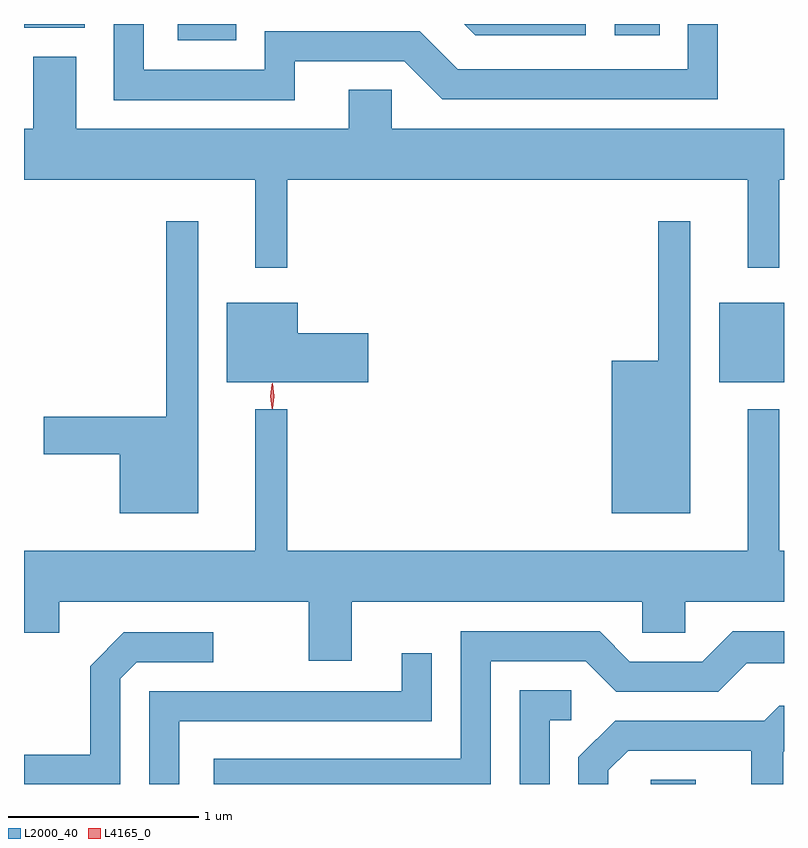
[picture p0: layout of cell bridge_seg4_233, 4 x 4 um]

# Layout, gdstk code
import gdstk
lib = gdstk.Library(unit=1e-6, precision=1e-09)
def R(c, l, rs):  # rectangles x0, y0, x1, y1
    for r in rs: c.add(gdstk.rectangle(r[:2], r[2:], *l))
def P(c, l, *ps):  # polygons
    for p in ps: c.add(gdstk.Polygon(p, *l))
L2000_40 = (2000, 40)
L4165_0 = (4165, 0)

bridge_seg4_233 = lib.new_cell('bridge_seg4_233')
R(bridge_seg4_233, L2000_40, [(593.641,1380.356,593.879,1380.379), (594.001,1382.471,594.343,1382.889), (591.151,1384.271,591.459,1384.356), (593.451,1384.296,593.688,1384.356), (590.343,1384.336,590.664,1384.356)])
P(bridge_seg4_233, L2000_40, [(593.299,1384.356),(592.659,1384.356),(592.719,1384.296),(593.299,1384.296)],
  [(591.769,1384.161),(592.344,1384.161),(592.544,1383.961),(593.994,1383.961),(593.994,1384.356),(593.836,1384.356),(593.836,1384.119),(592.627,1384.119),(592.427,1384.319),(591.611,1384.319),(591.611,1384.114),(590.974,1384.114),(590.974,1384.356),(590.816,1384.356),(590.816,1383.956),(591.769,1383.956)],
  [(591.729,1383.536),(594.151,1383.536),(594.151,1383.073),(594.319,1383.073),(594.319,1383.536),(594.343,1383.536),(594.343,1383.804),(592.279,1383.804),(592.279,1384.009),(592.051,1384.009),(592.051,1383.804),(590.619,1383.804),(590.619,1384.184),(590.391,1384.184),(590.391,1383.804),(590.343,1383.804),(590.343,1383.536),(591.561,1383.536),(591.561,1383.073),(591.729,1383.073)],
  [(593.849,1383.318),(593.681,1383.318),(593.681,1382.584),(593.436,1382.584),(593.436,1381.781),(593.849,1381.781)],
  [(591.259,1383.318),(591.091,1383.318),(591.091,1382.289),(590.446,1382.289),(590.446,1382.091),(590.846,1382.091),(590.846,1381.781),(591.259,1381.781)],
  [(592.154,1382.729),(591.784,1382.729),(591.784,1382.889),(591.411,1382.889),(591.411,1382.471),(592.154,1382.471)],
  [(592.069,1381.316),(593.596,1381.316),(593.596,1381.151),(593.824,1381.151),(593.824,1381.316),(594.343,1381.316),(594.343,1381.584),(594.319,1381.584),(594.319,1382.328),(594.151,1382.328),(594.151,1381.584),(591.729,1381.584),(591.729,1382.328),(591.561,1382.328),(591.561,1381.584),(590.343,1381.584),(590.343,1381.151),(590.529,1381.151),(590.529,1381.316),(591.841,1381.316),(591.841,1381.006),(592.069,1381.006)],
  [(592.799,1381.001),(593.299,1381.001),(593.459,1380.841),(593.997,1380.841),(594.147,1380.991),(594.343,1380.991),(594.343,1381.159),(594.074,1381.159),(593.914,1380.999),(593.532,1380.999),(593.372,1381.159),(592.641,1381.159),(592.641,1380.489),(591.341,1380.489),(591.341,1380.356),(592.799,1380.356)],
  [(590.849,1380.909),(590.937,1380.996),(591.338,1380.996),(591.338,1381.154),(590.869,1381.154),(590.691,1380.977),(590.691,1380.509),(590.343,1380.509),(590.343,1380.356),(590.849,1380.356)],
  [(591.159,1380.686),(592.489,1380.686),(592.489,1381.043),(592.331,1381.043),(592.331,1380.844),(591.001,1380.844),(591.001,1380.356),(591.159,1380.356)],
  [(593.109,1380.691),(593.223,1380.691),(593.223,1380.849),(592.951,1380.849),(592.951,1380.356),(593.109,1380.356)],
  [(593.419,1380.429),(593.522,1380.531),(594.171,1380.531),(594.171,1380.356),(594.339,1380.356),(594.339,1380.524),(594.343,1380.528),(594.343,1380.769),(594.319,1380.769),(594.239,1380.689),(593.454,1380.689),(593.261,1380.497),(593.261,1380.356),(593.419,1380.356)])
P(bridge_seg4_233, L4165_0, [(591.65,1382.33),(591.65,1382.33),(591.64,1382.398),(591.65,1382.465),(591.65,1382.466),(591.651,1382.465),(591.66,1382.398),(591.651,1382.33)],
  [(591.647,1382.333),(591.638,1382.396),(591.647,1382.459),(591.648,1382.46),(591.648,1382.459),(591.658,1382.396),(591.648,1382.333),(591.648,1382.333)])

lib.write_gds('bridge_seg4_233.gds')
